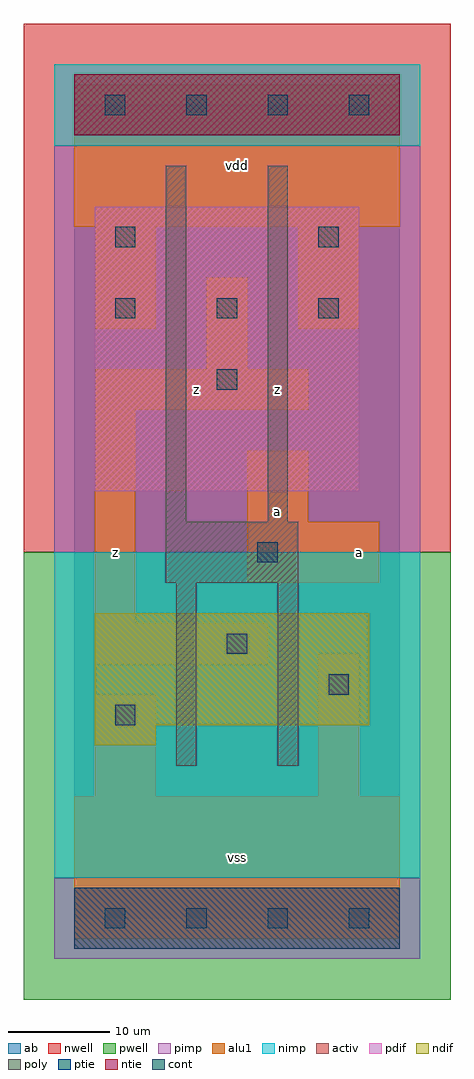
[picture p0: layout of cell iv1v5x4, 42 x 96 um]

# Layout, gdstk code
import gdstk
lib = gdstk.Library(unit=1e-6, precision=1e-09)
def R(c, l, rs):  # rectangles x0, y0, x1, y1
    for r in rs: c.add(gdstk.rectangle(r[:2], r[2:], *l))
def A(c, l, x, y, w, h, nx, ny, dx, dy):  # array of equal rectangles
    R(c, l, [(x+i*dx, y+j*dy, x+i*dx+w, y+j*dy+h) for i in range(nx) for j in range(ny)])
ndif = (3, 0)
pdif = (4, 0)
ntie = (5, 0)
ptie = (6, 0)
cont = (25, 0)
pwell = (41, 0)
nwell = (42, 0)
activ = (43, 0)
pimp = (44, 0)
nimp = (45, 0)
poly = (46, 0)
alu1 = (49, 0)
ab = (63, 0)

iv1v5x4 = lib.new_cell('iv1v5x4')
R(iv1v5x4, ndif, [(2,17,8,19), (2,19,29,30)])
R(iv1v5x4, pdif, [(2,42,28,70)])
R(iv1v5x4, ntie, [(0,77,32,83)])
R(iv1v5x4, ptie, [(0,-3,32,3)])
A(iv1v5x4, cont, 3, -1, 2, 2, 4, 2, 8, 80)
A(iv1v5x4, cont, 4, 59, 2, 2, 3, 1, 10, 0)
R(iv1v5x4, cont, [(4,19,6,21), (25,22,27,24), (15,26,17,28), (18,35,20,37), (14,52,16,54), (4,66,6,68), (24,66,26,68)])
R(iv1v5x4, pwell, [(-5,-8,37,36)])
R(iv1v5x4, nwell, [(-5,36,37,88)])
R(iv1v5x4, activ, [(0,-3,32,3), (2,17,8,19), (2,19,29,30), (2,42,28,70), (0,77,32,83)])
R(iv1v5x4, pimp, [(-2,-4,34,4), (-2,36,34,76)])
R(iv1v5x4, nimp, [(-2,4,34,36), (-2,76,34,84)])
R(iv1v5x4, poly, [(10,15,12,33), (20,15,22,33), (9,33,22,39), (9,39,11,74), (19,39,21,74)])
R(iv1v5x4, alu1, [(0,-2,32,12), (2,12,8,22), (24,12,28,26), (2,25,19,29), (2,29,6,50), (17,33,30,39), (17,39,23,46), (2,50,23,54), (13,54,17,63), (2,58,8,68), (22,58,28,68), (0,68,32,82)])
R(iv1v5x4, ab, [(0,0,32,80)])
iv1v5x4.add(gdstk.Label('z', (4,36), layer=49, texttype=0))
iv1v5x4.add(gdstk.Label('z', (12,52), layer=49, texttype=0))
iv1v5x4.add(gdstk.Label('vss', (16,6), layer=49, texttype=0))
iv1v5x4.add(gdstk.Label('a', (20,40), layer=49, texttype=0))
iv1v5x4.add(gdstk.Label('z', (20,52), layer=49, texttype=0))
iv1v5x4.add(gdstk.Label('vdd', (16,74), layer=49, texttype=0))
iv1v5x4.add(gdstk.Label('a', (28,36), layer=49, texttype=0))

lib.write_gds('iv1v5x4.gds')
